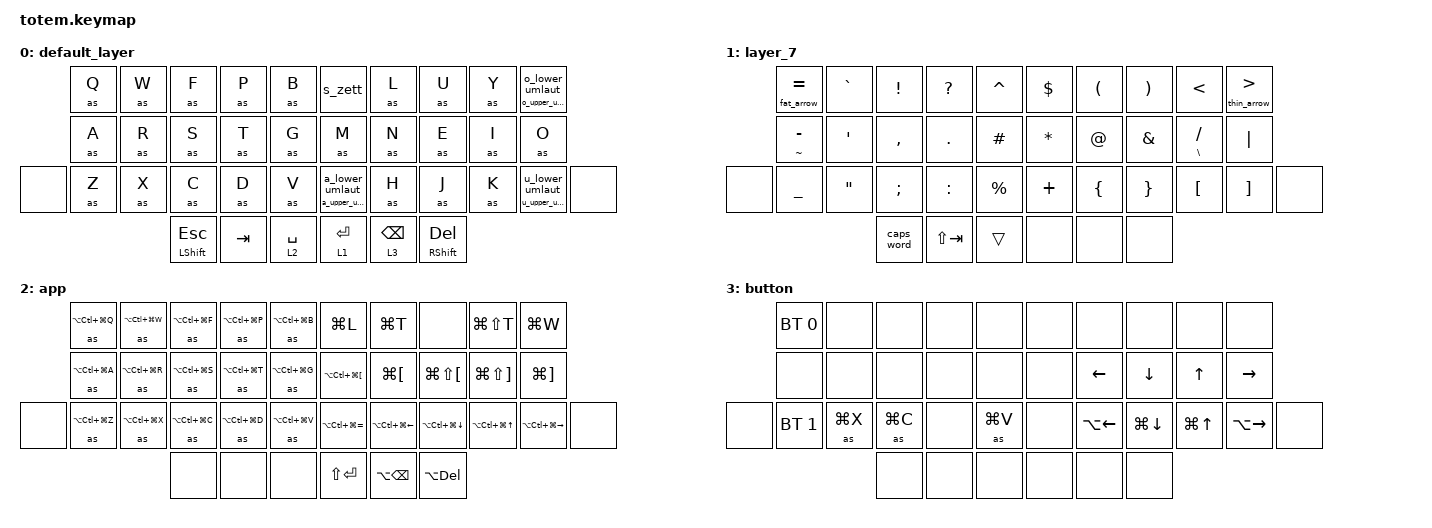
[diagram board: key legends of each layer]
/*
 * Copyright (c) 2020 The ZMK Contributors
 *
 * SPDX-License-Identifier: MIT
 */

#include <behaviors.dtsi>
#include <dt-bindings/zmk/bt.h>
#include <dt-bindings/zmk/keys.h>

/ {
    behaviors {
        as_ht: autoshift_hold_tap {
            compatible = "zmk,behavior-hold-tap";
            label = "AUTOSHIFT_HOLD_TAP";
            #binding-cells = <2>;
            tapping-term-ms = <180>;
            bindings = <&shifted>, <&kp>;

            flavor = "tap-preferred";
        };

        a_umlaut_mm: a_umlaut_mm {
            compatible = "zmk,behavior-mod-morph";
            label = "A_UMLAUT_MM";
            bindings = <&a_lower_umlaut>, <&o_upper_umlaut>;

            #binding-cells = <0>;
            mods = <(MOD_LSFT|MOD_RSFT)>;
        };

        o_umlaut_mm: o_umlaut_mm {
            compatible = "zmk,behavior-mod-morph";
            label = "O_UMLAUT_MM";
            bindings = <&o_lower_umlaut>, <&o_upper_umlaut>;

            #binding-cells = <0>;
            mods = <(MOD_LSFT|MOD_RSFT)>;
        };

        u_umlaut_mm: u_umlaut_mm {
            compatible = "zmk,behavior-mod-morph";
            label = "U_UMLAUT_MM";
            bindings = <&u_lower_umlaut>, <&u_upper_umlaut>;

            #binding-cells = <0>;
            mods = <(MOD_LSFT|MOD_RSFT)>;
        };

        th_thin_arrow: th_thin_arrow {
            compatible = "zmk,behavior-hold-tap";
            label = "TH_THIN_ARROW";
            bindings = <&thin_arrow>, <&kp>;

            #binding-cells = <2>;
            tapping-term-ms = <200>;
        };

        th_fat_arrow: th_fat_arrow {
            compatible = "zmk,behavior-hold-tap";
            label = "TH_FAT_ARROW";
            bindings = <&fat_arrow>, <&kp>;

            #binding-cells = <2>;
            tapping-term-ms = <200>;
        };

        th_brackets: th_brackets {
            compatible = "zmk,behavior-hold-tap";
            label = "TH_BRACKETS";
            bindings = <&brackets>, <&kp>;

            #binding-cells = <2>;
            tapping-term-ms = <200>;
        };

        th_paren: th_paren {
            compatible = "zmk,behavior-hold-tap";
            label = "TH_PAREN";
            bindings = <&paren>, <&kp>;

            #binding-cells = <2>;
            tapping-term-ms = <200>;
        };

        th_square_brackets: th_square_brackets {
            compatible = "zmk,behavior-hold-tap";
            label = "TH_SQUARE_BRACKETS";
            bindings = <&square_brackets>, <&kp>;

            #binding-cells = <2>;
            tapping-term-ms = <200>;
        };

        th_braces: th_braces {
            compatible = "zmk,behavior-hold-tap";
            label = "TH_BRACES";
            bindings = <&braces>, <&kp>;

            #binding-cells = <2>;
            tapping-term-ms = <200>;
        };

        a_umlaut: a_umlaut {
            compatible = "zmk,behavior-hold-tap";
            label = "A_UMLAUT";
            bindings = <&a_upper_umlaut>, <&a_lower_umlaut>;

            #binding-cells = <2>;
            tapping-term-ms = <200>;
        };

        u_umlaut: u_umlaut {
            compatible = "zmk,behavior-hold-tap";
            label = "U_UMLAUT";
            bindings = <&u_upper_umlaut>, <&u_lower_umlaut>;

            #binding-cells = <2>;
            tapping-term-ms = <200>;
        };

        o_umlaut: o_umlaut {
            compatible = "zmk,behavior-hold-tap";
            label = "O_UMLAUT";
            bindings = <&o_upper_umlaut>, <&o_lower_umlaut>;

            #binding-cells = <2>;
            tapping-term-ms = <200>;
        };

        th_kp_kp: th_kp_kp {
            compatible = "zmk,behavior-hold-tap";
            label = "TH_KP_KP";
            bindings = <&kp>, <&kp>;

            #binding-cells = <2>;
            tapping-term-ms = <200>;
            flavor = "tap-preferred";
        };

        th_kp_sk: th_kp_sk {
            compatible = "zmk,behavior-hold-tap";
            label = "TH_KP_SK";
            bindings = <&kp>, <&sk>;

            #binding-cells = <2>;
            tapping-term-ms = <200>;
            flavor = "tap-preferred";
        };

        th_kp_mo: th_kp_mo {
            compatible = "zmk,behavior-hold-tap";
            label = "TH_KP_MO";
            bindings = <&mo>, <&kp>;

            #binding-cells = <2>;
            tapping-term-ms = <200>;
            flavor = "tap-preferred";
        };
    };

    macros {
        shifted: macro_shifted_kp {
            #binding-cells = <1>;
            label = "MACRO_SHIFTED_KP";
            compatible = "zmk,behavior-macro-one-param";
            bindings =
                <&macro_press>,
                <&kp LSHFT &macro_param_1to1>,
                <&macro_tap>,
                <&kp MACRO_PLACEHOLDER>,
                <&macro_release>,
                <&kp LSHFT>;
        };

        as: autoshift {
            compatible = "zmk,behavior-macro-one-param";
            #binding-cells = <1>;
            label = "AUTOSHIFT_KP";
            bindings =
                <&macro_press>,
                <&macro_param_1to1 &macro_param_1to2 &as_ht MACRO_PLACEHOLDER MACRO_PLACEHOLDER>,
                <&macro_pause_for_release>,
                <&macro_release>,
                <&macro_param_1to1 &macro_param_1to2 &as_ht MACRO_PLACEHOLDER MACRO_PLACEHOLDER>;
        };

        a_lower_umlaut: a_lower_umlaut {
            compatible = "zmk,behavior-macro";
            #binding-cells = <0>;
            bindings = <&kp RA(U)>, <&macro_wait_time 5>, <&kp A>;

            label = "A_LOWER_UMLAUT";
        };

        a_upper_umlaut: a_upper_umlaut {
            compatible = "zmk,behavior-macro";
            #binding-cells = <0>;
            bindings = <&kp RA(U)>, <&macro_wait_time 5>, <&kp RS(A)>;

            label = "A_UPPER_UMLAUT";
        };

        o_lower_umlaut: o_lower_umlaut {
            compatible = "zmk,behavior-macro";
            #binding-cells = <0>;
            bindings = <&kp RA(U)>, <&macro_wait_time 5>, <&kp O>;

            label = "O_LOWER_UMLAUT";
        };

        o_upper_umlaut: o_upper_umlaut {
            compatible = "zmk,behavior-macro";
            #binding-cells = <0>;
            bindings = <&kp RA(U)>, <&macro_wait_time 5>, <&kp RS(O)>;

            label = "O_UPPER_UMLAUT";
        };

        u_lower_umlaut: u_lower_umlau {
            compatible = "zmk,behavior-macro";
            #binding-cells = <0>;
            bindings = <&kp RA(U)>, <&macro_wait_time 5>, <&kp U>;

            label = "U_LOWER_UMLAU";
        };

        u_upper_umlaut: u_upper_umlaut {
            compatible = "zmk,behavior-macro";
            #binding-cells = <0>;
            bindings = <&kp RA(U)>, <&macro_wait_time 5>, <&kp RS(U)>;

            label = "U_UPPER_UMLAUT";
        };

        euro: new_macro {
            compatible = "zmk,behavior-macro";
            #binding-cells = <0>;
            bindings = <&kp RA(AT)>;
            label = "NEW_MACRO";
        };

        s_zett: s_zett {
            compatible = "zmk,behavior-macro";
            #binding-cells = <0>;
            bindings = <&kp RA(S)>;
            label = "S_ZETT";
        };

        thin_arrow: thin_arrow {
            compatible = "zmk,behavior-macro";
            #binding-cells = <0>;
            bindings = <&kp MINUS &kp GT>;
            label = "THIN_ARROW";
        };

        fat_arrow: fat_arrow {
            compatible = "zmk,behavior-macro";
            #binding-cells = <0>;
            bindings = <&kp EQUAL &kp GT>;
            label = "FAT_ARROW";
        };

        brackets: brackets {
            compatible = "zmk,behavior-macro";
            #binding-cells = <0>;
            bindings = <&kp LT &kp GT &kp LEFT>;
            label = "BRACKETS";
        };

        paren: paren {
            compatible = "zmk,behavior-macro";
            #binding-cells = <0>;
            bindings = <&kp LPAR &kp RPAR &kp LEFT>;
            label = "PAREN";
        };

        square_brackets: square_brackets {
            compatible = "zmk,behavior-macro";
            #binding-cells = <0>;
            bindings = <&kp LBKT &kp RIGHT_BRACKET &kp LEFT_ARROW>;
            label = "SQUARE_BRACKETS";
        };

        braces: braces {
            compatible = "zmk,behavior-macro";
            #binding-cells = <0>;
            bindings = <&kp LEFT_BRACE &kp RET &kp RET &kp RIGHT_BRACE &kp UP>;
            label = "BRACES";
        };
    };

    combos {
        compatible = "zmk,combos";

        CombN1 {
            bindings = <&kp NUMBER_1>;
            key-positions = <15 16>;
        };

        CombN2 {
            bindings = <&kp NUMBER_2>;
            key-positions = <1 11>;
        };

        CombN3 {
            bindings = <&kp NUMBER_3>;
            key-positions = <2 12>;
        };

        CombN4 {
            bindings = <&kp NUMBER_4>;
            key-positions = <3 13>;
        };

        CombN5 {
            bindings = <&kp NUMBER_5>;
            key-positions = <4 14>;
        };

        CombN6 {
            bindings = <&kp NUMBER_6>;
            key-positions = <5 15>;
        };

        CombN7 {
            bindings = <&kp NUMBER_7>;
            key-positions = <6 16>;
        };

        CombN8 {
            bindings = <&kp NUMBER_8>;
            key-positions = <7 17>;
        };

        CombN9 {
            bindings = <&kp NUMBER_9>;
            key-positions = <8 18>;
        };

        CombN0 {
            bindings = <&kp NUMBER_0>;
            key-positions = <13 14>;
        };

        Combo_LCMD {
            bindings = <&th_kp_sk LCMD LCMD>;
            key-positions = <13 24>;
            layers = <0>;
        };

        Combo_RCMD {
            bindings = <&th_kp_sk RCMD RCMD>;
            key-positions = <16 27>;
            layers = <0>;
        };

        Combo_LOPT {
            bindings = <&th_kp_sk LALT LALT>;
            key-positions = <12 23>;
            layers = <0>;
        };

        Combo_ROPT {
            bindings = <&th_kp_sk RALT RALT>;
            key-positions = <28 17>;
            layers = <0>;
        };

        Combo_LCTRL {
            bindings = <&th_kp_sk LCTRL LCTRL>;
            key-positions = <11 22>;
            layers = <0>;
        };

        Combo_RCTRL {
            bindings = <&th_kp_sk RCTRL RCTRL>;
            key-positions = <18 29>;
            layers = <0>;
        };
    };

    keymap {
        compatible = "zmk,keymap";

        default_layer {
            bindings = <
       &as Q  &as W  &as F                &as P    &as B                &s_zett          &as L                  &as U                &as Y  &o_umlaut 0 0
       &as A  &as R  &as S                &as T    &as G                &as M            &as N                  &as E                &as I  &as O
&none  &as Z  &as X  &as C                &as D    &as V                &a_umlaut 0 0    &as H                  &as J                &as K  &u_umlaut 0 0  &none
                     &th_kp_kp LSHFT ESC  &kp TAB  &th_kp_mo 2 SPACE    &th_kp_mo 1 RET  &th_kp_mo 3 BACKSPACE  &th_kp_kp RSHFT DEL
            >;
        };

        layer_7 {
            bindings = <
       &th_fat_arrow 0 EQUAL  &kp GRAVE          &kp EXCLAMATION  &kp QUESTION  &kp CARET      &kp DOLLAR    &kp LEFT_PARENTHESIS  &kp RIGHT_PARENTHESIS  &kp LT                     &th_thin_arrow 0 GT
       &th_kp_kp TILDE MINUS  &kp SINGLE_QUOTE   &kp COMMA        &kp DOT       &kp HASH       &kp ASTERISK  &kp AT                &kp AMPERSAND          &th_kp_kp BACKSLASH SLASH  &kp PIPE
&none  &kp UNDERSCORE         &kp DOUBLE_QUOTES  &kp SEMICOLON    &kp COLON     &kp PERCENT    &kp PLUS      &kp LEFT_BRACE        &kp RIGHT_BRACE        &kp LEFT_BRACKET           &kp RIGHT_BRACKET    &none
                                                 &caps_word       &kp LS(TAB)   &trans         &none         &none                 &none
            >;
        };

        app {
            bindings = <
       &as LA(LC(LG(Q)))  &as LA(LC(LG(W)))  &as LA(LC(LG(F)))  &as LA(LC(LG(P)))  &as LA(LC(LG(B)))    &kp LG(L)                     &kp LG(T)             &none                     &kp LG(LS(T))              &kp LG(W)
       &as LA(LC(LG(A)))  &as LA(LC(LG(R)))  &as LA(LC(LG(S)))  &as LA(LC(LG(T)))  &as LA(LC(LG(G)))    &kp LA(LC(LG(LEFT_BRACKET)))  &kp LG(LEFT_BRACKET)  &kp LG(LS(LEFT_BRACKET))  &kp LG(LS(RIGHT_BRACKET))  &kp LG(RIGHT_BRACKET)
&none  &as LA(LC(LG(Z)))  &as LA(LC(LG(X)))  &as LA(LC(LG(C)))  &as LA(LC(LG(D)))  &as LA(LC(LG(V)))    &kp LA(LC(LG(EQUAL)))         &kp LA(LC(LG(LEFT)))  &kp LA(LC(LG(DOWN)))      &kp LA(LC(LG(UP_ARROW)))   &kp LA(LC(LG(RIGHT)))  &none
                                             &none              &none              &none                &kp LS(RET)                   &kp LA(BACKSPACE)     &kp LA(DELETE)
            >;
        };

        button {
            bindings = <
       &bt BT_SEL 0  &none      &none      &none  &none        &none  &none               &none           &none         &none
       &none         &none      &none      &none  &none        &none  &kp LEFT            &kp DOWN_ARROW  &kp UP_ARROW  &kp RIGHT
&none  &bt BT_SEL 1  &as LG(X)  &as LG(C)  &none  &as LG(V)    &none  &kp LA(LEFT_ARROW)  &kp LG(DOWN)    &kp LG(UP)    &kp LA(RIGHT)  &none
                                &none      &none  &none        &none  &none               &none
            >;
        };
    };
};
